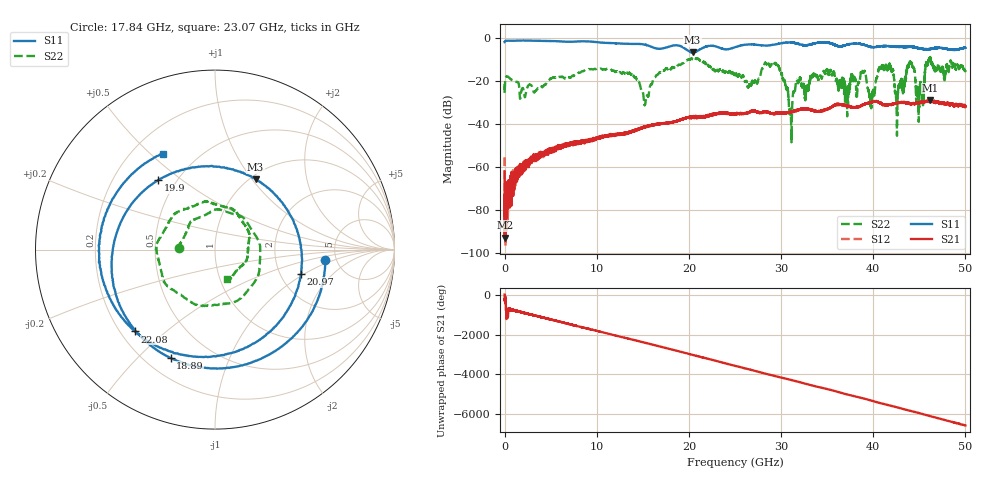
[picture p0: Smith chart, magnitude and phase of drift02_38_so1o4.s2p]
!Created with skrf (http://scikit-rf.org).
# Hz S RI R 50.0
!freq ReS11 ImS11 ReS21 ImS21 ReS12 ImS12 ReS22 ImS22
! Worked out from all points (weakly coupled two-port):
!   10001 points, 300 kHz to 50 GHz, reference 50 ohm
!   highest |S21| = -28.97 dB at 46.21 GHz (marker M1); lowest = -92.7 dB at 80.3 MHz (marker M2)
!   lowest |S11| = -6.9 dB at 20.4 GHz (marker M3), VSWR 2.64, Z = 52.9 + j51.9 ohm
!   |S11| at or under -10 dB: nowhere
!   |S22| runs from -48.5 to -9.0 dB; largest |S21 - S12| = 0.003
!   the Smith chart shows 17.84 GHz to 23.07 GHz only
!   S11 on the Smith chart (normalised r, x): 17.84 GHz: 4.07, -0.73; 18.89 GHz: 0.30, -0.63; 19.9 GHz: 0.40, +0.41; 20.97 GHz: 2.59, -0.93; 22.08 GHz: 0.26, -0.40; 23.07 GHz: 0.32, +0.55
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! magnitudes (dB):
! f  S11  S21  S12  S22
! 300 kHz  -2.1  -62.2  -55.5  -21.6
! 80.3 MHz  -1.5  -92.7  -77.1  -19.3
! 8.335 GHz  -1.7  -48.2  -48.7  -15.7
! 15.33 GHz  -3.4  -41.3  -41.2  -28.8
! 16.67 GHz  -5.2  -40.0  -40.1  -17.0
! 17.84 GHz  -4.2  -39.5  -39.5  -14.0
! 18.89 GHz  -3.7  -38.4  -38.5  -12.5
! 19.9 GHz  -6.0  -37.1  -37.1  -10.2
! 20.4 GHz  -6.9  -36.6  -37.0  -10.0
! 20.97 GHz  -6.1  -37.0  -36.9  -9.7
! 22.08 GHz  -3.9  -36.1  -36.5  -12.8
! 23.07 GHz  -4.3  -35.3  -35.3  -14.9
! 25 GHz  -4.5  -35.3  -35.4  -17.5
! 29.51 GHz  -3.1  -34.8  -35.1  -12.5
! 31.03 GHz  -2.3  -34.5  -34.7  -33.7
! 33.34 GHz  -3.1  -33.7  -33.5  -18.0
! 39.8 GHz  -4.3  -30.1  -30.0  -32.1
! 41.67 GHz  -4.0  -31.0  -31.3  -13.2
! 44.18 GHz  -4.2  -30.9  -30.9  -12.4
! 44.85 GHz  -4.8  -30.2  -30.1  -24.2
! 46.21 GHz  -5.3  -29.0  -29.3  -9.9
! 50 GHz  -4.7  -31.8  -31.9  -15.8
